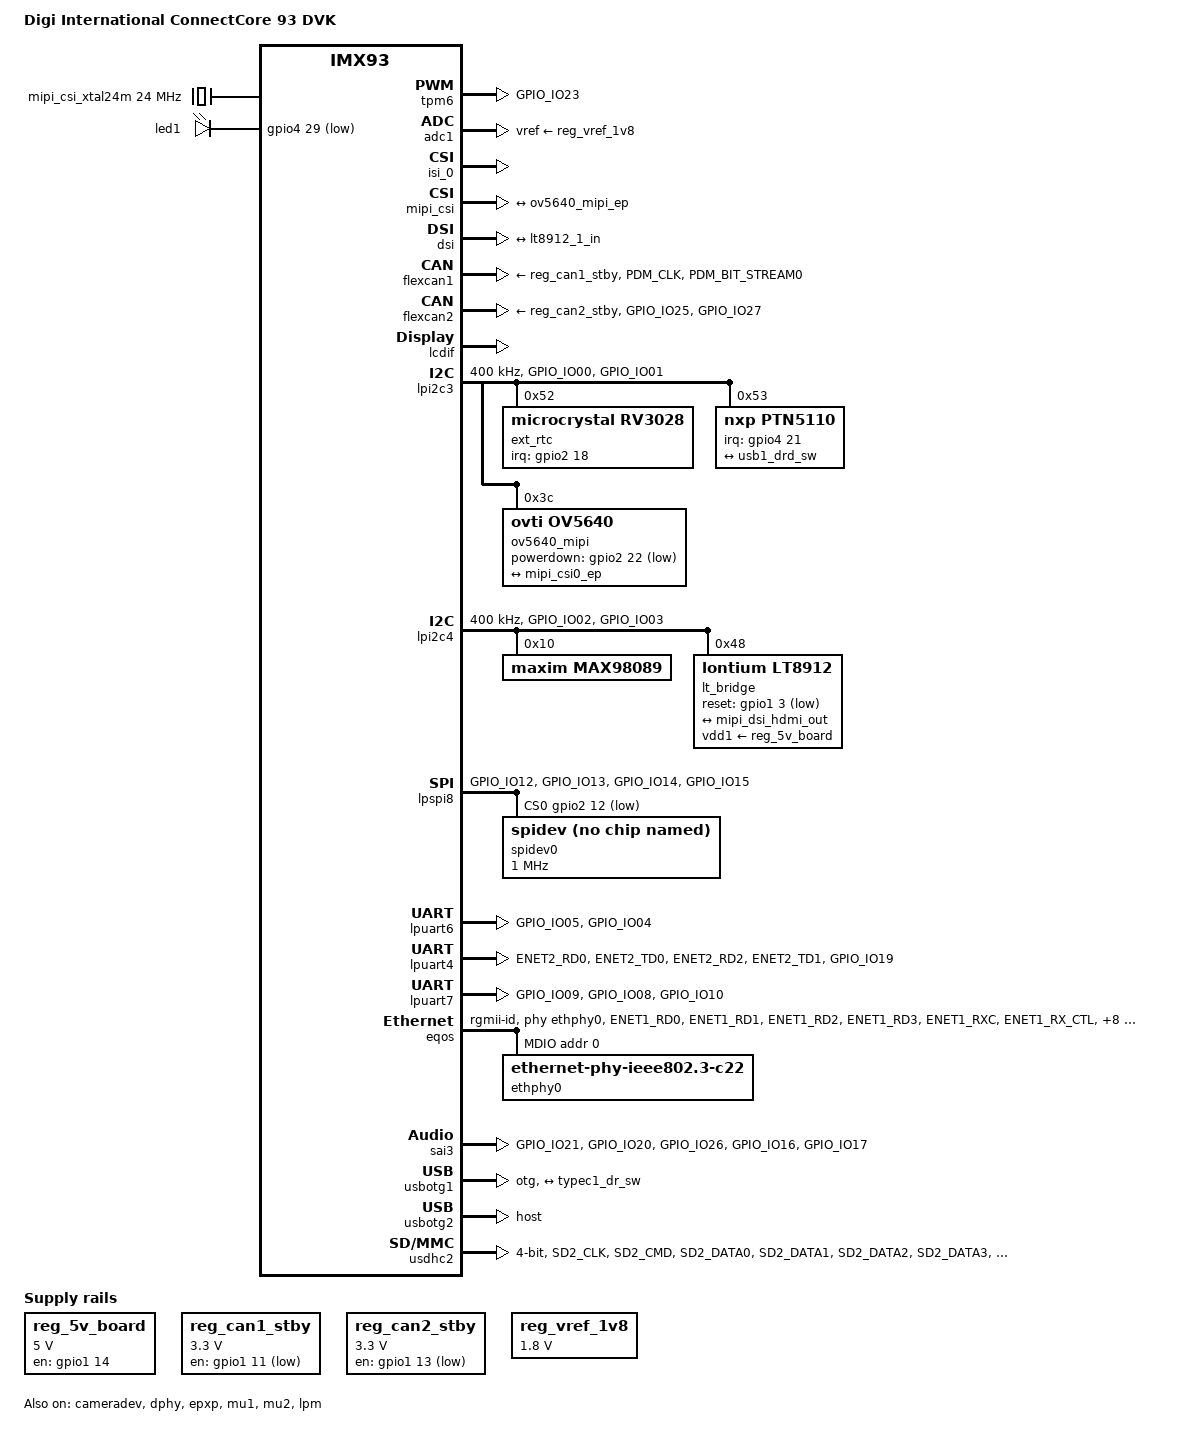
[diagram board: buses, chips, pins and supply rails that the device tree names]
/*
 * Copyright 2022-2023, Digi International Inc.
 *
 * Permission to use, copy, modify, and/or distribute this software for any
 * purpose with or without fee is hereby granted, provided that the above
 * copyright notice and this permission notice appear in all copies.
 * THE SOFTWARE IS PROVIDED "AS IS" AND THE AUTHOR DISCLAIMS ALL WARRANTIES
 * WITH REGARD TO THIS SOFTWARE INCLUDING ALL IMPLIED WARRANTIES OF
 * MERCHANTABILITY AND FITNESS. IN NO EVENT SHALL THE AUTHOR BE LIABLE FOR
 * ANY SPECIAL, DIRECT, INDIRECT, OR CONSEQUENTIAL DAMAGES OR ANY DAMAGES
 * WHATSOEVER RESULTING FROM LOSS OF USE, DATA OR PROFITS, WHETHER IN AN
 * ACTION OF CONTRACT, NEGLIGENCE OR OTHER TORTIOUS ACTION, ARISING OUT OF
 * OR IN CONNECTION WITH THE USE OR PERFORMANCE OF THIS SOFTWARE.
 */

/dts-v1/;

/* i.MX93 CPU */
#include "../freescale/imx93.dtsi"
/* Digi ConnectCore 93 (SOM) */
#include "ccimx93.dtsi"
#include <dt-bindings/usb/pd.h>

/ {
	model = "Digi International ConnectCore 93 DVK";
	compatible = "digi,ccimx93-dvk", "digi,ccimx93", "fsl,imx93";
	digi,machine,name = "ccimx93-dvk";

	chosen {
		stdout-path = &lpuart6;
	};

	aliases {
		ethernet0 = &eqos;
		ethernet1 = &fec;
	};

	/* fixed 24MHz crystal for mipi camera */
	mipi_csi_xtal24m: mipi_csi_xtal24m {
		compatible = "fixed-clock";
		#clock-cells = <0>;
		clock-frequency = <24000000>;
		clock-output-names = "xtal_24MHz";
	};

	lvds_backlight: lvds_backlight {
		compatible = "pwm-backlight";
		pwms = <&tpm6 1 50000 0>;
		brightness-levels = <0 20 25 30 35 40 100>;
		default-brightness-level = <6>;
		status = "disabled";
	};

	lvds_panel: lvds_panel {
		status = "disabled";

		port {
			panel_lvds_in: endpoint {
				remote-endpoint = <&lvds_out>;
			};
		};
	};

	regulators {
		compatible = "simple-bus";
		#address-cells = <1>;
		#size-cells = <0>;

		reg_5v_board: regulator@1 {
			compatible = "regulator-fixed";
			reg = <4>;
			pinctrl-names = "default";
			pinctrl-0 = <&pinctrl_reg_5v_board>;
			regulator-name = "5v_board";
			regulator-min-microvolt = <5000000>;
			regulator-max-microvolt = <5000000>;
			gpio = <&gpio1 14 GPIO_ACTIVE_HIGH>;
			enable-active-high;
		};

		reg_can1_stby: regulator-can1-stby {
			compatible = "regulator-fixed";
			pinctrl-names = "default";
			pinctrl-0 = <&pinctrl_reg_can1_stby>;
			regulator-name = "can1-stby";
			regulator-min-microvolt = <3300000>;
			regulator-max-microvolt = <3300000>;
			gpio = <&gpio1 11 GPIO_ACTIVE_LOW>;
			enable-active-low;
		};

		reg_can2_stby: regulator-can2-stby {
			compatible = "regulator-fixed";
			pinctrl-names = "default";
			pinctrl-0 = <&pinctrl_reg_can2_stby>;
			regulator-name = "can2-stby";
			regulator-min-microvolt = <3300000>;
			regulator-max-microvolt = <3300000>;
			gpio = <&gpio1 13 GPIO_ACTIVE_LOW>;
			enable-active-low;
		};

		reg_vref_1v8: regulator-adc-vref {
			compatible = "regulator-fixed";
			regulator-name = "vref_1v8";
			regulator-min-microvolt = <1800000>;
			regulator-max-microvolt = <1800000>;
		};
	};

	sound_max98089: sound-max98089 {
		compatible = "fsl,imx-audio-max98088";
		model = "max98088-audio";
		audio-cpu = <&sai3>;
		audio-codec = <&max98089>;
		audio-routing =
			"Headphone Jack", "HPL",
			"Headphone Jack", "HPR",
			"Ext Spk", "SPKL",
			"Ext Spk", "SPKR",
			"Line Out Jack", "RECL",
			"Line Out Jack", "RECR",
			"Mic Jack", "MIC1",
			"Mic Jack", "MIC2",
			"Line In Jack", "INA1",
			"Line In Jack", "INA2",
			"Line In Jack", "INB1",
			"Line In Jack", "INB2";
	};

	leds {
		compatible = "gpio-leds";
		pinctrl-names = "default";
		pinctrl-0 = <&pinctrl_gpio_led>;

		led1 {
			label = "led1";
			gpios = <&gpio4 29 GPIO_ACTIVE_LOW>;
			linux,default-trigger = "heartbeat";
		};
	};
};

/* LVDS PWM backlight */
&tpm6 {
	pinctrl-names = "default";
	pinctrl-0 = <&pinctrl_tpm6>;
};

/* ADC - 4 channels available on expansion connector */
&adc1 {
	vref-supply = <&reg_vref_1v8>;
	status = "okay";
};

/* MIPI-CSI CAMERA */
&cameradev {
	status = "okay";
};

&isi_0 {
	status = "okay";

	cap_device {
		status = "okay";
	};
};

&mipi_csi {
	#address-cells = <1>;
	#size-cells = <0>;
	status = "okay";

	/* Camera 0 MIPI CSI */
	port@0 {
		reg = <0>;
		mipi_csi0_ep: endpoint {
			remote-endpoint = <&ov5640_mipi_ep>;
			data-lanes = <2>;
			cfg-clk-range = <28>;
			hs-clk-range = <0x16>;
			bus-type = <4>;
		};
	};
};

/* MIPI DSI PHY */
&dphy {
	status = "okay";
};

&dsi {
	status = "okay";

	ports {
		port@1 {
			reg = <1>;

			mipi_dsi_hdmi_out: endpoint {
				remote-endpoint = <&lt8912_1_in>;
			};
		};
	};
};

&epxp {
	status = "okay";
};

&flexcan1 {
	pinctrl-names = "default";
	pinctrl-0 = <&pinctrl_flexcan1>;
	xceiver-supply = <&reg_can1_stby>;
	status = "okay";
};

&flexcan2 {
	pinctrl-names = "default";
	pinctrl-0 = <&pinctrl_flexcan2>;
	xceiver-supply = <&reg_can2_stby>;
	status = "okay";
};

&lcdif {
	status = "okay";
	assigned-clock-rates = <445333333>, <148444444>, <400000000>, <133333333>;
};

&ldb {
	status = "disabled";

	lvds-channel@0 {
		status = "disabled";

		port@1 {
			reg = <1>;

			lvds_out: endpoint {
				remote-endpoint = <&panel_lvds_in>;
			};
		};
	};
};

&ldb_phy {
	status = "disabled";
};

/* I2C3 - HDMI bridge, ... */
&lpi2c3 {
	#address-cells = <1>;
	#size-cells = <0>;
	clock-frequency = <400000>;
	pinctrl-names = "default", "sleep";
	pinctrl-0 = <&pinctrl_lpi2c3>;
	pinctrl-1 = <&pinctrl_lpi2c3>;
	status = "okay";

	goodix_touch: gt9271@14 {
		compatible = "goodix,gt9271";
		reg = <0x14>;
		pinctrl-names = "default";
		pinctrl-0 = <&pinctrl_touch>;
		/* LVDS interrupt */
		interrupt-parent = <&gpio2>;
		interrupts = <24 IRQ_TYPE_EDGE_FALLING>;
		irq-gpios = <&gpio2 24 GPIO_ACTIVE_HIGH>;
		reload-fw-on-resume;
		skip-firmware-request;
		vin-supply = <&reg_5v_board>;
		status = "disabled";
	};

	ext_rtc: ext_rtc@52 {
		compatible = "microcrystal,rv3028";
		reg = <0x52>;
		pinctrl-names = "default";
		pinctrl-0 = <&pinctrl_rtc>;
		interrupt-parent = <&gpio2>;
		interrupts = <18 IRQ_TYPE_EDGE_FALLING>;
		wakeup-source;
	};

	ptn5110: tcpc@53 {
		compatible = "nxp,ptn5110";
		pinctrl-names = "default";
		pinctrl-0 = <&pinctrl_usbc>;
		reg = <0x53>;
		interrupt-parent = <&gpio4>;
		interrupts = <21 IRQ_TYPE_LEVEL_LOW>;
		status = "okay";

		port {
			typec1_dr_sw: endpoint {
				remote-endpoint = <&usb1_drd_sw>;
			};
		};

		typec1_con: connector {
			compatible = "usb-c-connector";
			label = "USB-C";
			power-role = "source";
			data-role = "dual";
			source-pdos = <PDO_FIXED(5000, 3000, PDO_FIXED_USB_COMM)>;
		};
	};

	/* MIPI-CSI camera */
	ov5640_mipi: ov5640_mipi@3c {
		compatible = "ovti,ov5640";
		reg = <0x3c>;
		pinctrl-names = "default";
		pinctrl-0 = <&pinctrl_mipi>;
		clocks = <&mipi_csi_xtal24m>;
		clock-names = "xclk";
		csi_id = <0>;
		powerdown-gpios = <&gpio2 22 GPIO_ACTIVE_LOW>;
		mclk = <24000000>;
		mclk_source = <0>;
		mipi_csi;
		status = "okay";
		port {
			ov5640_mipi_ep: endpoint {
				remote-endpoint = <&mipi_csi0_ep>;
				data-lanes = <1 2>;
				clocks-lanes = <0>;
			};
		};
	};
};

/* I2C4 - Audio codec and HDMI bridge */
&lpi2c4 {
	#address-cells = <1>;
	#size-cells = <0>;
	clock-frequency = <400000>;
	pinctrl-names = "default", "sleep";
	pinctrl-0 = <&pinctrl_lpi2c4>;
	pinctrl-1 = <&pinctrl_lpi2c4>;
	status = "okay";

	max98089: codec@10 {
		compatible = "maxim,max98089";
		reg = <0x10>;
		clocks = <&clk IMX93_CLK_SAI3_GATE>;
		clock-names = "mclk";
		// TODO
		// Add regulators when defined for the DVK
		// vcc-supply = <&reg_3v3_audio>;
		// dvdd-supply = <&reg_1v8_ext>;
	};

	lt_bridge: lt8912@48 {
		compatible = "lontium,lt8912";
		reg = <0x48>;
		pinctrl-names = "default";
		pinctrl-0 = <&pinctrl_lt8912>;
		reset-gpios = <&gpio1 3 GPIO_ACTIVE_LOW>;
		no-hpd;
		digi,dsi-lanes = <4>;
		vdd1-supply = <&reg_5v_board>;
		no-edid;
		status = "okay";

		port {
			lt8912_1_in: endpoint {
				/* add lanes */
				remote-endpoint = <&mipi_dsi_hdmi_out>;
			};
		};

		display-timings {
			native-mode = <&timing1>;

			/* High Definition */
			timing0: timing0 {
				clock-frequency = <74250000>;
				hactive = <1280>;
				vactive = <720>;
				hfront-porch = <110>;
				hsync-len = <40>;
				hback-porch = <220>;
				vfront-porch = <5>;
				vsync-len = <5>;
				vback-porch = <20>;
				hsync-active = <0>;
				vsync-active = <0>;
				de-active = <0>;
				pixelclk-active = <0>;
			};

			/* Full HD */
			timing1: timing1 {
				clock-frequency = <148500000>;
				hactive = <1920>;
				vactive = <1080>;
				hfront-porch = <88>;
				hsync-len = <44>;
				hback-porch = <148>;
				vfront-porch = <36>;
				vsync-len = <5>;
				vback-porch = <4>;
				hsync-active = <0>;
				vsync-active = <0>;
				de-active = <0>;
				pixelclk-active = <0>;
			};
		};
	};
};

/* mikroBUS SPI interface */
&lpspi8 {
	fsl,spi-num-chipselects = <1>;
	pinctrl-names = "default", "sleep";
	pinctrl-0 = <&pinctrl_lpspi8>;
	pinctrl-1 = <&pinctrl_lpspi8>;
	cs-gpios = <&gpio2 12 GPIO_ACTIVE_LOW>;
	status = "okay";

	spidev0: spi@0 {
		/*
		 * spidev uses a compatible string 'rohm,fs2228fv' to have the
		 * driver create an spi device node. This is just an example,
		 * there is not a real device connected on the SPI bus.
		 */
		compatible = "rohm,dh2228fv";
		reg = <0>;
		spi-max-frequency = <1000000>;
	};
};

&lpuart6 { /* console */
	pinctrl-names = "default";
	pinctrl-0 = <&pinctrl_uart6>;
	status = "okay";
};

/*
 * XBee interface
 * The lines of this interface are shared with ENET2. Refer to the hardware and
 * software documentation for additional information about how to configure the
 * board.
 */
&lpuart4 {
	pinctrl-names = "default";
	pinctrl-0 = <&pinctrl_uart4>, <&pinctrl_xbee_rf_gpios>;
	fsl,uart-has-rtscts;
	status = "okay";
};

/*
 * RS485/mikroBUS UART
 * The uart of the RS485 and the mikroBUS interfaces is shared. Configure the
 * corresponding jumpers to select the desired functionality.
 */
&lpuart7 {
	pinctrl-names = "default";
	pinctrl-0 = <&pinctrl_uart7>;
	linux,rs485-enabled-at-boot-time;
	digi,rts-gpio = <&gpio2 10 GPIO_ACTIVE_HIGH>;
	status = "okay";
};

/* Messaging Units for inter-processors communication */
&mu1 {
	status = "okay";
};

&mu2 {
	status = "okay";
};

/* Ethernet EQoS */
&eqos {
	pinctrl-names = "default";
	pinctrl-0 = <&pinctrl_eqos>, <&pinctrl_eqos_mdio>;
	phy-mode = "rgmii-id";
	phy-handle = <&ethphy0>;
	status = "okay";

	mdio {
		compatible = "snps,dwmac-mdio";
		#address-cells = <1>;
		#size-cells = <0>;
		clock-frequency = <5000000>;

		ethphy0: ethernet-phy@0 {
			compatible = "ethernet-phy-ieee802.3-c22";
			reg = <0>;
		};
	};
};

/* Ethernet MAC (ENET) */
&fec {
	pinctrl-names = "default";
	pinctrl-0 = <&pinctrl_fec>, <&pinctrl_fec_mdio>;
	phy-mode = "rgmii-id";
	phy-handle = <&ethphy1>;
	fsl,magic-packet;
	status = "disabled";

	mdio {
		#address-cells = <1>;
		#size-cells = <0>;
		clock-frequency = <5000000>;

		ethphy1: ethernet-phy@1 {
			/* PHY ID for Marvell 88E1512 */
			compatible = "ethernet-phy-ieee802.3-c22";
			reg = <1>;
		};
	};
};

&lpm {
	soc-supply = <&buck1>;
	status = "okay";
};

/* Audio interface */
&sai3 {
	pinctrl-names = "default";
	pinctrl-0 = <&pinctrl_sai3>;
	assigned-clocks = <&clk IMX93_CLK_SAI3>;
	assigned-clock-parents = <&clk IMX93_CLK_AUDIO_PLL>;
	assigned-clock-rates = <12288000>;
	fsl,sai-mclk-direction-output;
	status = "okay";
};

/* USB_OTG1 - USB TypeC */
&usbotg1 {
	dr_mode = "otg";
	hnp-disable;
	srp-disable;
	adp-disable;
	usb-role-switch;
	disable-over-current;
	samsung,picophy-pre-emp-curr-control = <3>;
	samsung,picophy-dc-vol-level-adjust = <7>;
	status = "okay";

	port {
		usb1_drd_sw: endpoint {
			remote-endpoint = <&typec1_dr_sw>;
		};
	};
};

/* USB_OTG2 connected to usb hub */
&usbotg2 {
	dr_mode = "host";
	disable-over-current;
	status = "okay";
};

/* SD card */
&usdhc2 {
	pinctrl-names = "default", "state_100mhz", "state_200mhz";
	pinctrl-0 = <&pinctrl_usdhc2>, <&pinctrl_usdhc2_gpio>;
	pinctrl-1 = <&pinctrl_usdhc2>, <&pinctrl_usdhc2_gpio>;
	pinctrl-2 = <&pinctrl_usdhc2>, <&pinctrl_usdhc2_gpio>;
	cd-gpios = <&gpio3 00 GPIO_ACTIVE_HIGH>;
	bus-width = <4>;
	status = "okay";
	post-power-on-delay-ms = <200>;
	no-sdio;
	no-mmc;
};

&iomuxc {
	pinctrl-names = "default";
	pinctrl-0 = <&pinctrl_gpio>, <&pinctrl_gpio_shared_enet2>;

	/* EQoS RGMII */
	pinctrl_eqos: eqosgrp {
		fsl,pins = <
			MX93_PAD_ENET1_RD0__ENET_QOS_RGMII_RD0			0x57e
			MX93_PAD_ENET1_RD1__ENET_QOS_RGMII_RD1			0x57e
			MX93_PAD_ENET1_RD2__ENET_QOS_RGMII_RD2			0x57e
			MX93_PAD_ENET1_RD3__ENET_QOS_RGMII_RD3			0x57e
			MX93_PAD_ENET1_RXC__CCM_ENET_QOS_CLOCK_GENERATE_RX_CLK	0x5fe
			MX93_PAD_ENET1_RX_CTL__ENET_QOS_RGMII_RX_CTL		0x57e
			MX93_PAD_ENET1_TD0__ENET_QOS_RGMII_TD0			0x57e
			MX93_PAD_ENET1_TD1__ENET_QOS_RGMII_TD1			0x57e
			MX93_PAD_ENET1_TD2__ENET_QOS_RGMII_TD2			0x57e
			MX93_PAD_ENET1_TD3__ENET_QOS_RGMII_TD3			0x57e
			MX93_PAD_ENET1_TXC__CCM_ENET_QOS_CLOCK_GENERATE_TX_CLK	0x5fe
			MX93_PAD_ENET1_TX_CTL__ENET_QOS_RGMII_TX_CTL		0x57e
		>;
	};

	/* EQoS MDIO */
	pinctrl_eqos_mdio: ethmdio {
		fsl,pins = <
			MX93_PAD_ENET1_MDC__ENET_QOS_MDC			0x57e
			MX93_PAD_ENET1_MDIO__ENET_QOS_MDIO			0x57e
		>;
	};

	/* FEC RGMII */
	pinctrl_fec: fecgrp {
		fsl,pins = <
			MX93_PAD_ENET2_RD0__ENET1_RGMII_RD0			0x57e
			MX93_PAD_ENET2_RD1__ENET1_RGMII_RD1			0x57e
			MX93_PAD_ENET2_RD2__ENET1_RGMII_RD2			0x57e
			MX93_PAD_ENET2_RD3__ENET1_RGMII_RD3			0x57e
			MX93_PAD_ENET2_RXC__ENET1_RGMII_RXC			0x5fe
			MX93_PAD_ENET2_RX_CTL__ENET1_RGMII_RX_CTL		0x57e
			MX93_PAD_ENET2_TD0__ENET1_RGMII_TD0			0x57e
			MX93_PAD_ENET2_TD1__ENET1_RGMII_TD1			0x57e
			MX93_PAD_ENET2_TD2__ENET1_RGMII_TD2			0x57e
			MX93_PAD_ENET2_TD3__ENET1_RGMII_TD3			0x57e
			MX93_PAD_ENET2_TXC__ENET1_RGMII_TXC			0x5fe
			MX93_PAD_ENET2_TX_CTL__ENET1_RGMII_TX_CTL		0x57e
		>;
	};

	/* FEC MDIO */
	pinctrl_fec_mdio: fecmdiogrp {
		fsl,pins = <
			MX93_PAD_ENET2_MDC__ENET1_MDC				0x57e
			MX93_PAD_ENET2_MDIO__ENET1_MDIO				0x57e
		>;
	};

	/* CAN1 */
	pinctrl_flexcan1: flexcan1grp {
		fsl,pins = <
			MX93_PAD_PDM_CLK__CAN1_TX				0x139e
			MX93_PAD_PDM_BIT_STREAM0__CAN1_RX			0x139e
		>;
	};

	/* CAN2 */
	pinctrl_flexcan2: flexcan2grp {
		fsl,pins = <
			MX93_PAD_GPIO_IO25__CAN2_TX				0x139e
			MX93_PAD_GPIO_IO27__CAN2_RX				0x139e
		>;
	};

	/* GPIOs for User Leds, Buttons, ... */
	pinctrl_gpio: gpiogrp {
		fsl,pins = <
			/* ULED/BUTTON1 */
			MX93_PAD_SD2_RESET_B__GPIO3_IO07			0x31e
			/* MIKROBUS_INT */
			MX93_PAD_GPIO_IO11__GPIO2_IO11				0x31e
		>;
	};

	/* Shared GPIOs with ENET2 to be removed with overlay */
	pinctrl_gpio_shared_enet2: gpiosharedenet2grp {
		fsl,pins = <
			/* GPIO4_IO16 */
			MX93_PAD_ENET2_TD3__GPIO4_IO16			0x31e
			/* GPIO4_IO17 */
			MX93_PAD_ENET2_TD2__GPIO4_IO17			0x31e
			/* GPIO4_IO22 */
			MX93_PAD_ENET2_RX_CTL__GPIO4_IO22			0x31e
			/* ULED/BUTTON2 */
			MX93_PAD_ENET2_RXC__GPIO4_IO23			0x31e
			/* GPIO4_IO25 */
			MX93_PAD_ENET2_RD1__GPIO4_IO25			0x31e
			/* GPIO4_IO27 */
			MX93_PAD_ENET2_RD3__GPIO4_IO27			0x31e
		>;
	};

	/* Power led */
	pinctrl_gpio_led: gpioledgrp {
		fsl,pins = <
			MX93_PAD_CCM_CLKO4__GPIO4_IO29				0x31e
		>;
	};

	/* I2C3 */
	pinctrl_lpi2c3: lpi2c3grp {
		fsl,pins = <
			MX93_PAD_GPIO_IO00__LPI2C3_SDA				0x40000b9e
			MX93_PAD_GPIO_IO01__LPI2C3_SCL				0x40000b9e
		>;
	};

	/* I2C4 */
	pinctrl_lpi2c4: lpi2c4grp {
		fsl,pins = <
			MX93_PAD_GPIO_IO02__LPI2C4_SDA				0x40000b9e
			MX93_PAD_GPIO_IO03__LPI2C4_SCL				0x40000b9e
		>;
	};

	/* mikroBUS SPI interface */
	pinctrl_lpspi8: lpspi8grp {
		fsl,pins = <
			MX93_PAD_GPIO_IO12__GPIO2_IO12				0x3fe
			MX93_PAD_GPIO_IO13__LPSPI8_SIN				0x3fe
			MX93_PAD_GPIO_IO14__LPSPI8_SOUT				0x3fe
			MX93_PAD_GPIO_IO15__LPSPI8_SCK				0x3fe
		>;
	};

	/* MIPI Camera */
	pinctrl_mipi: mipi {
		fsl,pins = <
			/* MIPI_CSI_RESET_N */
			MX93_PAD_GPIO_IO22__GPIO2_IO22 				0x31e
		>;
	};

	/* HDMI bridge IOs */
	pinctrl_lt8912: lt8912grp {
		fsl,pins = <
			/* Reset */
			MX93_PAD_I2C2_SDA__GPIO1_IO03				0x31e
		>;
	};

	/* DVK 5V power switch */
	pinctrl_reg_5v_board: reg_5v_board_grp {
		fsl,pins = <
			/* 5V regulator power enable */
			MX93_PAD_SAI1_RXD0__GPIO1_IO14				0x31e
		>;
	};

	/* CAN1 STBY control */
	pinctrl_reg_can1_stby: reg_can1_stby_grp {
		fsl,pins = <
			MX93_PAD_SAI1_TXFS__GPIO1_IO11				0x31e
		>;
	};

	/* CAN2 STBY control */
	pinctrl_reg_can2_stby: reg_can2_stby_grp {
		fsl,pins = <
			MX93_PAD_SAI1_TXD0__GPIO1_IO13				0x31e
		>;
	};

	/* RTC INT */
	pinctrl_rtc: rtc_grp {
		fsl,pins = <
			MX93_PAD_GPIO_IO18__GPIO2_IO18				0x31e
		>;
	};

	/* Audio Interface */
	pinctrl_sai3: sai3grp {
		fsl,pins = <
			MX93_PAD_GPIO_IO21__SAI3_TX_DATA00			0x31e
			MX93_PAD_GPIO_IO20__SAI3_RX_DATA00			0x31e
			MX93_PAD_GPIO_IO26__SAI3_TX_SYNC			0x31e
			MX93_PAD_GPIO_IO16__SAI3_TX_BCLK			0x31e
			MX93_PAD_GPIO_IO17__SAI3_MCLK				0x31e
		>;
	};

	/* LVDS touch interface IOs */
	pinctrl_touch: touchgrp {
		fsl,pins = <
			/* LVDS touch interrupt */
			MX93_PAD_GPIO_IO24__GPIO2_IO24				0x31e
		>;
	};

	/* SD card */
	pinctrl_usdhc2_gpio: usdhc2gpiogrp {
		fsl,pins = <
			MX93_PAD_SD2_CD_B__GPIO3_IO00				0x31e
		>;
	};

	pinctrl_usdhc2: usdhc2grp {
		fsl,pins = <
			MX93_PAD_SD2_CLK__USDHC2_CLK				0x15fe
			MX93_PAD_SD2_CMD__USDHC2_CMD				0x13fe
			MX93_PAD_SD2_DATA0__USDHC2_DATA0			0x13fe
			MX93_PAD_SD2_DATA1__USDHC2_DATA1			0x13fe
			MX93_PAD_SD2_DATA2__USDHC2_DATA2			0x13fe
			MX93_PAD_SD2_DATA3__USDHC2_DATA3			0x13fe
			MX93_PAD_SD2_VSELECT__USDHC2_VSELECT			0x51e
		>;
	};

	/* Serial console */
	pinctrl_uart6: uart6grp {
		fsl,pins = <
			MX93_PAD_GPIO_IO05__LPUART6_RX				0x31e
			MX93_PAD_GPIO_IO04__LPUART6_TX				0x31e
		>;
	};

	/* XBee uart */
	pinctrl_uart4: uart4grp {
	fsl,pins = <
			MX93_PAD_ENET2_RD0__LPUART4_RX				0x31e
			MX93_PAD_ENET2_TD0__LPUART4_TX				0x31e
			MX93_PAD_ENET2_RD2__LPUART4_CTS_B			0x31e
			MX93_PAD_ENET2_TD1__LPUART4_RTS_B			0x31e
		>;
	};

	/* XBee RF IO lines */
	pinctrl_xbee_rf_gpios: xbeerfgrp {
		fsl,pins = <
			/* XBEE_RESET_N */
			MX93_PAD_GPIO_IO19__GPIO2_IO19				0x31e
		>;
	};

	/* mikroBUS/RS485 uart */
	pinctrl_uart7: uart7grp {
	fsl,pins = <
			MX93_PAD_GPIO_IO09__LPUART7_RX				0x31e
			MX93_PAD_GPIO_IO08__LPUART7_TX				0x31e
			/* RS485_DE */
			MX93_PAD_GPIO_IO10__GPIO2_IO10				0x31e
		>;
	};

	/* USB TypeC IRQ */
	pinctrl_usbc: usbcgrp {
		fsl,pins = <
			/* USBC Alert */
			MX93_PAD_ENET2_TXC__GPIO4_IO21				0x31e
		>;
	};

	/* LVDS PWM backlight */
	pinctrl_tpm6: tpm6grp {
		fsl,pins = <
			MX93_PAD_GPIO_IO23__TPM6_CH1					0x19e
		>;
	};
};
